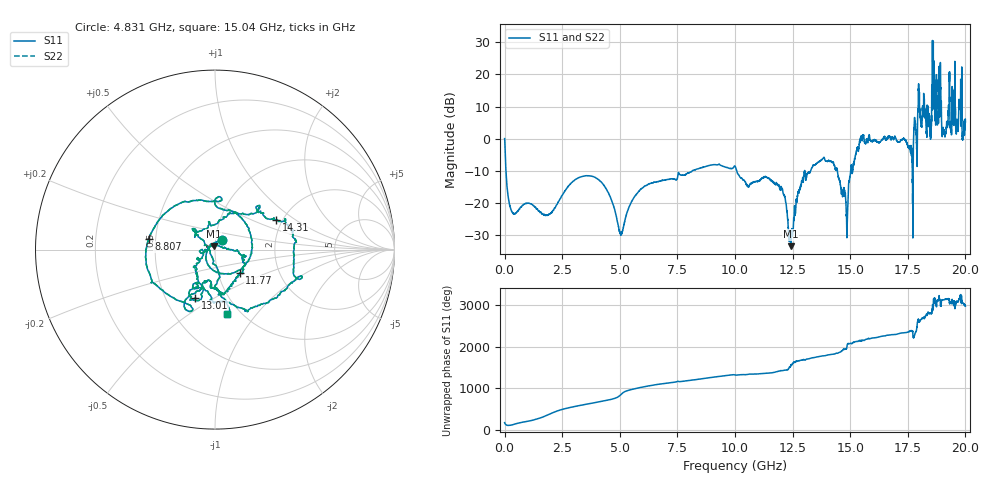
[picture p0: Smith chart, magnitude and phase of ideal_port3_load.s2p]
! Created with skrf (http://scikit-rf.org).
# GHz S RI R 50.0
!freq ReS11 ImS11 ReS21 ImS21 ReS12 ImS12 ReS22 ImS22
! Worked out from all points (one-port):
!   10001 points, 1 MHz to 20 GHz, reference 50 ohm
!   lowest |S11| = -33.6 dB at 12.42 GHz (marker M1), VSWR 1.04, Z = 49.3 + j1.96 ohm
!   |S11| at or under -10 dB: 58.41 MHz to 8.155 GHz (8.097 GHz wide, 197 % of centre); 10.07 GHz to 13.02 GHz (2.954 GHz wide, 25.6 % of centre); 14.44 GHz to 15.02 GHz (577.7 MHz wide, 3.92 % of centre) (the widest 3 of 6)
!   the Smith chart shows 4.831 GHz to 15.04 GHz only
!   S11 on the Smith chart (normalised r, x): 4.831 GHz: 1.08, +0.11; 8.807 GHz: 0.46, +0.06; 11.77 GHz: 1.26, -0.34; 13.01 GHz: 0.70, -0.41; 14.31 GHz: 1.86, +0.71; 15.04 GHz: 0.87, -0.71
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0.001  -0.9965 0.0229  0 0  0 0  -0.9965 0.0229
3.334833  -0.1308 -0.2181  0 0  0 0  -0.1308 -0.2181
4.830758  0.0401 0.0508  0 0  0 0  0.0401 0.0508
6.668667  0.2004 0.069  0 0  0 0  0.2004 0.069
8.80656  -0.3705 0.0589  0 0  0 0  -0.3705 0.0589
10.0005  -0.1595 -0.3372  0 0  0 0  -0.1595 -0.3372
11.77241  0.1367 -0.1304  0 0  0 0  0.1367 -0.1304
12.42438  -0.00663 0.0198  0 0  0 0  -0.00663 0.0198
13.01435  -0.1096 -0.2682  0 0  0 0  -0.1096 -0.2682
13.33433  0.1297 -0.3217  0 0  0 0  0.1297 -0.3217
14.31228  0.3402 0.1638  0 0  0 0  0.3402 0.1638
15.03825  0.0652 -0.3577  0 0  0 0  0.0652 -0.3577
16.66817  -0.5214 0.946  0 0  0 0  -0.5214 0.946
17.61412  -0.5719 -0.4077  0 0  0 0  -0.5719 -0.4077
18.0181  -0.5403 2.53  0 0  0 0  -0.5403 2.53
18.34608  -0.3914 -2.35  0 0  0 0  -0.3914 -2.35
18.47008  0.3784 -1.24  0 0  0 0  0.3784 -1.24
18.67207  -0.1197 -2.037  0 0  0 0  -0.1197 -2.037
19.20604  -0.3884 -1.498  0 0  0 0  -0.3884 -1.498
19.40803  -1.338 -0.6631  0 0  0 0  -1.338 -0.6631
19.79201  4.416 -2.765  0 0  0 0  4.416 -2.765
20  -0.0167 1.824  0 0  0 0  -0.0167 1.824
